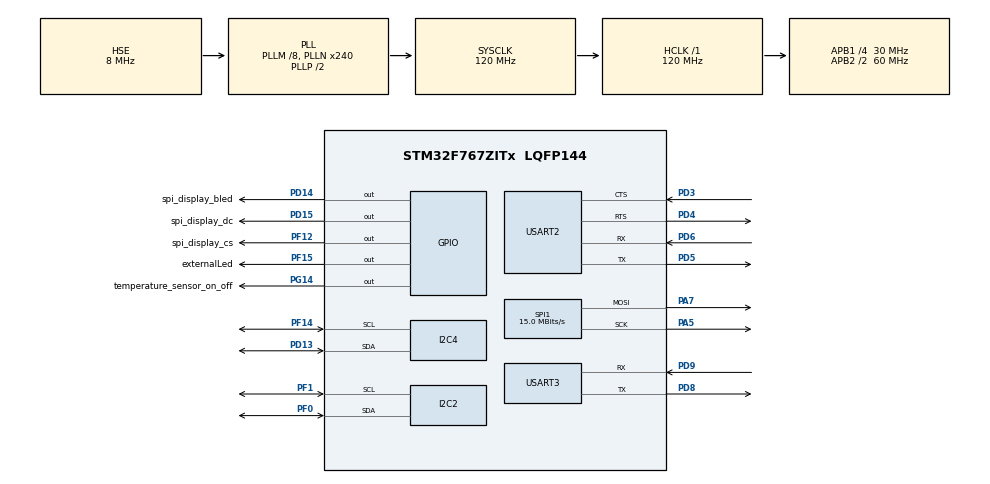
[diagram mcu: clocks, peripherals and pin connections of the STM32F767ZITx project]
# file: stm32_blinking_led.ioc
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CORTEX_M7.default_mode_Activation=1
Dma.Request0=USART2_RX
Dma.Request1=USART2_TX
Dma.USART2_RX.0.Direction=DMA_PERIPH_TO_MEMORY
Dma.USART2_RX.0.FIFOMode=DMA_FIFOMODE_DISABLE
Dma.USART2_RX.0.Instance=DMA1_Stream5
Dma.USART2_RX.0.MemDataAlignment=DMA_MDATAALIGN_BYTE
Dma.USART2_RX.0.MemInc=DMA_MINC_ENABLE
Dma.USART2_RX.0.Mode=DMA_CIRCULAR
Dma.USART2_RX.0.PeriphDataAlignment=DMA_PDATAALIGN_BYTE
Dma.USART2_RX.0.PeriphInc=DMA_PINC_DISABLE
Dma.USART2_RX.0.Priority=DMA_PRIORITY_MEDIUM
Dma.USART2_TX.1.Direction=DMA_MEMORY_TO_PERIPH
Dma.USART2_TX.1.FIFOMode=DMA_FIFOMODE_DISABLE
Dma.USART2_TX.1.Instance=DMA1_Stream6
Dma.USART2_TX.1.MemDataAlignment=DMA_MDATAALIGN_BYTE
Dma.USART2_TX.1.MemInc=DMA_MINC_ENABLE
Dma.USART2_TX.1.Mode=DMA_NORMAL
Dma.USART2_TX.1.PeriphDataAlignment=DMA_PDATAALIGN_BYTE
Dma.USART2_TX.1.PeriphInc=DMA_PINC_DISABLE
Dma.USART2_TX.1.Priority=DMA_PRIORITY_MEDIUM
FREERTOS.Tasks01=defaultTask,24,512,StartDefaultTask,Default,NULL,Dynamic,NULL,NULL
FREERTOS.configCHECK_FOR_STACK_OVERFLOW=2
FREERTOS.configMINIMAL_STACK_SIZE=128
FREERTOS.configTOTAL_HEAP_SIZE=65536
FREERTOS.configUSE_MALLOC_FAILED_HOOK=1
FREERTOS.configUSE_NEWLIB_REENTRANT=0
FREERTOS.copyHeapFile=1
I2C2.OwnAddress=0x38
I2C2.Timing=0x007074AF
I2C4.Timing=0x007074AF
Mcu.Family=STM32F7
Mcu.Name=STM32F767ZITx
Mcu.Package=LQFP144
NVIC.DMA1_Stream5_IRQn=true\:5\:0\:false\:false\:true\:true\:false\:true\:true
NVIC.DMA1_Stream6_IRQn=true\:5\:0\:false\:false\:true\:true\:false\:true\:true
NVIC.PriorityGroup=NVIC_PRIORITYGROUP_4
NVIC.TIM6_DAC_IRQn=true\:15\:0\:false\:false\:true\:false\:false\:true\:true
NVIC.TimeBase=TIM6_DAC_IRQn
NVIC.TimeBaseIP=TIM6
NVIC.USART2_IRQn=true\:5\:0\:false\:false\:true\:true\:true\:true\:true
PA5.Mode=TX_Only_Simplex_Unidirect_Master
PA5.Signal=SPI1_SCK
PA7.Mode=TX_Only_Simplex_Unidirect_Master
PA7.Signal=SPI1_MOSI
PC14/OSC32_IN.Mode=LSE-External-Oscillator
PC14/OSC32_IN.Signal=RCC_OSC32_IN
PC15/OSC32_OUT.Mode=LSE-External-Oscillator
PC15/OSC32_OUT.Signal=RCC_OSC32_OUT
PD13.Mode=I2C
PD13.Signal=I2C4_SDA
PD14.GPIO_Label=spi_display_bled
PD14.Signal=GPIO_Output
PD15.GPIO_Label=spi_display_dc
PD15.Signal=GPIO_Output
PD3.Mode=CTS_RTS
PD3.Signal=USART2_CTS
PD4.Mode=CTS_RTS
PD4.Signal=USART2_RTS
PD5.Mode=Asynchronous
PD5.Signal=USART2_TX
PD6.Mode=Asynchronous
PD6.Signal=USART2_RX
PD8.Mode=Asynchronous
PD8.Signal=USART3_TX
PD9.Mode=Asynchronous
PD9.Signal=USART3_RX
PF0.Mode=I2C
PF0.Signal=I2C2_SDA
PF1.Mode=I2C
PF1.Signal=I2C2_SCL
PF12.GPIO_Label=spi_display_cs
PF12.Signal=GPIO_Output
PF14.Mode=I2C
PF14.Signal=I2C4_SCL
PF15.GPIO_Label=externalLed
PF15.Signal=GPIO_Output
PG14.GPIO_Label=temperature_sensor_on_off
PG14.Signal=GPIO_Output
PH0/OSC_IN.Mode=HSE-External-Clock-Source
PH0/OSC_IN.Signal=RCC_OSC_IN
PH1/OSC_OUT.Mode=HSE-External-Clock-Source
PH1/OSC_OUT.Signal=RCC_OSC_OUT
ProjectManager.HeapSize=0x200
ProjectManager.StackSize=0x400
ProjectManager.TargetToolchain=CMake
RCC.AHBFreq_Value=120000000
RCC.APB1CLKDivider=RCC_HCLK_DIV4
RCC.APB1Freq_Value=30000000
RCC.APB1TimFreq_Value=60000000
RCC.APB2CLKDivider=RCC_HCLK_DIV2
RCC.APB2Freq_Value=60000000
RCC.APB2TimFreq_Value=120000000
RCC.CortexFreq_Value=120000000
RCC.HCLKFreq_Value=120000000
RCC.HSE_VALUE=8000000
RCC.HSI_VALUE=16000000
RCC.PLLM=8
RCC.PLLN=240
RCC.PLLSourceVirtual=RCC_PLLSOURCE_HSE
RCC.RTCClockSelection=RCC_RTCCLKSOURCE_LSE
RCC.SYSCLKFreq_VALUE=120000000
RCC.SYSCLKSource=RCC_SYSCLKSOURCE_PLLCLK
RCC.USBFreq_Value=120000000
RCC.VCOOutputFreq_Value=240000000
SPI1.BaudRatePrescaler=SPI_BAUDRATEPRESCALER_4
SPI1.CLKPolarity=SPI_POLARITY_LOW
SPI1.CalculateBaudRate=15.0 MBits/s
SPI1.DataSize=SPI_DATASIZE_8BIT
SPI1.Direction=SPI_DIRECTION_2LINES
SPI1.Mode=SPI_MODE_MASTER
SPI1.VirtualType=VM_MASTER
USART2.VirtualMode-Asynchronous=VM_ASYNC
USART3.VirtualMode-Asynchronous=VM_ASYNC
VP_FREERTOS_VS_CMSIS_V2.Mode=CMSIS_V2
VP_RTC_VS_RTC_Activate.Mode=RTC_Enabled
VP_SYS_VS_tim6.Mode=TIM6
board=custom

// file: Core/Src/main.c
/* USER CODE BEGIN Header */
/**
  ******************************************************************************
  * @file           : main.c
  * @brief          : Main program body
  ******************************************************************************
  * @attention
  *
  * Copyright (c) 2025 STMicroelectronics.
  * All rights reserved.
  *
  * This software is licensed under terms that can be found in the LICENSE file
  * in the root directory of this software component.
  * If no LICENSE file comes with this software, it is provided AS-IS.
  *
  ******************************************************************************
  */
/* USER CODE END Header */
#include "main.h"
#include "cmsis_os.h"

/* USER CODE BEGIN Includes */
#include "app_main.h"
#include "os_wrapper.h"
#if USE_SEGGER_SYSTEMVIEW
#include "SEGGER_SYSVIEW.h"
#include "SEGGER_RTT.h"
#endif
#include <stdio.h>
/* USER CODE END Includes */

I2C_HandleTypeDef hi2c2;
I2C_HandleTypeDef hi2c4;

RTC_HandleTypeDef hrtc;

SPI_HandleTypeDef hspi1;

UART_HandleTypeDef huart2;
UART_HandleTypeDef huart3;
DMA_HandleTypeDef hdma_usart2_rx;
DMA_HandleTypeDef hdma_usart2_tx;

/* Definitions for defaultTask */
osThreadId_t defaultTaskHandle;
const osThreadAttr_t defaultTask_attributes = {
  .name = "defaultTask",
  .stack_size = 512 * 4,
  .priority = (osPriority_t) osPriorityNormal,
};

void SystemClock_Config(void);
static void MPU_Config(void);
static void MX_GPIO_Init(void);
static void MX_DMA_Init(void);
static void MX_I2C2_Init(void);
static void MX_SPI1_Init(void);
static void MX_I2C4_Init(void);
static void MX_RTC_Init(void);
static void MX_USART2_UART_Init(void);
static void MX_USART3_UART_Init(void);
void StartDefaultTask(void *argument);

/* USER CODE BEGIN 0 */
// Retarget printf to USART3 (ST-Link VCP on micro-USB)
int __io_putchar(int ch)
{
  HAL_UART_Transmit(&huart3, (uint8_t *)&ch, 1, HAL_MAX_DELAY);
  return ch;
}
/* USER CODE END 0 */

int main(void)
{

  /* USER CODE BEGIN 1 */
  /* Dual-bank OTA with bootloader: application always runs from 0x08008000.
     Bootloader at sectors 0-1 (0x08000000) sets VTOR before jumping here,
     but we reinforce it in case of direct SWD flash. */
  SCB->VTOR = 0x08008000U;
  /* USER CODE END 1 */

  /* MPU Configuration--------------------------------------------------------*/
  MPU_Config();

  /* MCU Configuration--------------------------------------------------------*/

  /* Reset of all peripherals, Initializes the Flash interface and the Systick. */
  HAL_Init();

  /* Configure the system clock */
  SystemClock_Config();

  /* USER CODE BEGIN SysInit */
  // CRITICAL: Update SystemCoreClock variable after clock reconfiguration
  SystemCoreClockUpdate();
  printf("=== Clock configured to 120MHz (8MHz HSE, PLLN=240) ===\n");
  printf("SystemCoreClock variable: %lu Hz\n", SystemCoreClock);

  // CRITICAL: Reinitialize HAL tick timer after clock config
  HAL_InitTick(TICK_INT_PRIORITY);

  printf("HAL tick reinitialized successfully\n");

  // Enable DWT cycle counter for SystemView timestamps
  CoreDebug->DEMCR |= CoreDebug_DEMCR_TRCENA_Msk;
  DWT->CYCCNT = 0;
  DWT->CTRL |= DWT_CTRL_CYCCNTENA_Msk;
  /* USER CODE END SysInit */

  /* Initialize all configured peripherals */
  MX_GPIO_Init();
  MX_DMA_Init();
  MX_I2C2_Init();
  MX_SPI1_Init();
  MX_I2C4_Init();
  MX_RTC_Init();
  MX_USART2_UART_Init();
  MX_USART3_UART_Init();
  /* USER CODE BEGIN 2 */
  printf("\n=== STM32F767 Application Starting ===\n");
  printf("Firmware Version: v1.2.3\n");  // UPDATE THIS FOR EACH BUILD
  printf("System Clock: %lu Hz\n", HAL_RCC_GetSysClockFreq());
  printf("HAL Tick: %lu ms\n", HAL_GetTick());
  printf("VTOR: 0x%08lX\n", SCB->VTOR);
  printf("Executing from: 0x%08lX\n", (uint32_t)&main);

  // Check reset reason
  if (__HAL_RCC_GET_FLAG(RCC_FLAG_IWDGRST)) {
    printf("RESET: Independent Watchdog\n");
  }
  if (__HAL_RCC_GET_FLAG(RCC_FLAG_WWDGRST)) {
    printf("RESET: Window Watchdog\n");
  }
  if (__HAL_RCC_GET_FLAG(RCC_FLAG_SFTRST)) {
    printf("RESET: Software Reset\n");
  }
  if (__HAL_RCC_GET_FLAG(RCC_FLAG_PORRST)) {
    printf("RESET: Power-On Reset\n");
  }
  if (__HAL_RCC_GET_FLAG(RCC_FLAG_PINRST)) {
    printf("RESET: External Pin\n");
  }
  __HAL_RCC_CLEAR_RESET_FLAGS();
  printf("DEBUG: Reset flags cleared\n");

  // Initialize SEGGER SystemView configuration (recording starts after scheduler)
#if USE_SEGGER_SYSTEMVIEW
  SEGGER_SYSVIEW_Conf();
  printf("SEGGER SystemView configured (will start after scheduler init)\n");
#else
  printf("SEGGER SystemView: Disabled\n");
#endif

  // NOTE: app_init() moved to StartDefaultTask() to run AFTER FreeRTOS scheduler is initialized
  // This prevents creating FreeRTOS tasks/queues before scheduler is ready
  /* USER CODE END 2 */

  /* Init scheduler */
  osKernelInitialize();

  /* Create the thread(s) */
  /* creation of defaultTask */
  defaultTaskHandle = osThreadNew(StartDefaultTask, NULL, &defaultTask_attributes);

  /* Start scheduler */
  osKernelStart();

  /* We should never get here as control is now taken by the scheduler */

  /* Infinite loop */
  /* USER CODE BEGIN WHILE */
  while (1)
  {
    /* This code will never execute - scheduler has control */
    /* USER CODE END WHILE */

  }
}

void SystemClock_Config(void)
{
  RCC_OscInitTypeDef RCC_OscInitStruct = {0};
  RCC_ClkInitTypeDef RCC_ClkInitStruct = {0};

  /** Configure LSE Drive Capability
  */
  HAL_PWR_EnableBkUpAccess();
  __HAL_RCC_LSEDRIVE_CONFIG(RCC_LSEDRIVE_LOW);

  /** Configure the main internal regulator output voltage
  */
  __HAL_RCC_PWR_CLK_ENABLE();
  __HAL_PWR_VOLTAGESCALING_CONFIG(PWR_REGULATOR_VOLTAGE_SCALE3);

  /** Initializes the RCC Oscillators according to the specified parameters
  * in the RCC_OscInitTypeDef structure.
  */
  RCC_OscInitStruct.OscillatorType = RCC_OSCILLATORTYPE_HSE|RCC_OSCILLATORTYPE_LSE;
  RCC_OscInitStruct.HSEState = RCC_HSE_BYPASS;
  RCC_OscInitStruct.LSEState = RCC_LSE_ON;
  RCC_OscInitStruct.PLL.PLLState = RCC_PLL_ON;
  RCC_OscInitStruct.PLL.PLLSource = RCC_PLLSOURCE_HSE;
  RCC_OscInitStruct.PLL.PLLM = 8;
  RCC_OscInitStruct.PLL.PLLN = 240;
  RCC_OscInitStruct.PLL.PLLP = RCC_PLLP_DIV2;
  RCC_OscInitStruct.PLL.PLLQ = 2;
  RCC_OscInitStruct.PLL.PLLR = 2;
  if (HAL_RCC_OscConfig(&RCC_OscInitStruct) != HAL_OK)
  {
    Error_Handler();
  }

  /** Initializes the CPU, AHB and APB buses clocks
  */
  RCC_ClkInitStruct.ClockType = RCC_CLOCKTYPE_HCLK|RCC_CLOCKTYPE_SYSCLK
                              |RCC_CLOCKTYPE_PCLK1|RCC_CLOCKTYPE_PCLK2;
  RCC_ClkInitStruct.SYSCLKSource = RCC_SYSCLKSOURCE_PLLCLK;
  RCC_ClkInitStruct.AHBCLKDivider = RCC_SYSCLK_DIV1;
  RCC_ClkInitStruct.APB1CLKDivider = RCC_HCLK_DIV4;
  RCC_ClkInitStruct.APB2CLKDivider = RCC_HCLK_DIV2;

  if (HAL_RCC_ClockConfig(&RCC_ClkInitStruct, FLASH_LATENCY_3) != HAL_OK)
  {
    Error_Handler();
  }
}

static void MX_I2C2_Init(void)
{

  hi2c2.Instance = I2C2;
  hi2c2.Init.Timing = 0x007074AF;
  hi2c2.Init.OwnAddress1 = 112;
  hi2c2.Init.AddressingMode = I2C_ADDRESSINGMODE_7BIT;
  hi2c2.Init.DualAddressMode = I2C_DUALADDRESS_DISABLE;
  hi2c2.Init.OwnAddress2 = 0;
  hi2c2.Init.OwnAddress2Masks = I2C_OA2_NOMASK;
  hi2c2.Init.GeneralCallMode = I2C_GENERALCALL_DISABLE;
  hi2c2.Init.NoStretchMode = I2C_NOSTRETCH_DISABLE;
  if (HAL_I2C_Init(&hi2c2) != HAL_OK)
  {
    Error_Handler();
  }

  /** Configure Analogue filter
  */
  if (HAL_I2CEx_ConfigAnalogFilter(&hi2c2, I2C_ANALOGFILTER_ENABLE) != HAL_OK)
  {
    Error_Handler();
  }

  /** Configure Digital filter
  */
  if (HAL_I2CEx_ConfigDigitalFilter(&hi2c2, 0) != HAL_OK)
  {
    Error_Handler();
  }

}

static void MX_I2C4_Init(void)
{

  hi2c4.Instance = I2C4;
  hi2c4.Init.Timing = 0x007074AF;
  hi2c4.Init.OwnAddress1 = 0;
  hi2c4.Init.AddressingMode = I2C_ADDRESSINGMODE_7BIT;
  hi2c4.Init.DualAddressMode = I2C_DUALADDRESS_DISABLE;
  hi2c4.Init.OwnAddress2 = 0;
  hi2c4.Init.OwnAddress2Masks = I2C_OA2_NOMASK;
  hi2c4.Init.GeneralCallMode = I2C_GENERALCALL_DISABLE;
  hi2c4.Init.NoStretchMode = I2C_NOSTRETCH_DISABLE;
  if (HAL_I2C_Init(&hi2c4) != HAL_OK)
  {
    Error_Handler();
  }

  /** Configure Analogue filter
  */
  if (HAL_I2CEx_ConfigAnalogFilter(&hi2c4, I2C_ANALOGFILTER_ENABLE) != HAL_OK)
  {
    Error_Handler();
  }

  /** Configure Digital filter
  */
  if (HAL_I2CEx_ConfigDigitalFilter(&hi2c4, 0) != HAL_OK)
  {
    Error_Handler();
  }

}

static void MX_RTC_Init(void)
{

  /** Initialize RTC Only
  */
  hrtc.Instance = RTC;
  hrtc.Init.HourFormat = RTC_HOURFORMAT_24;
  hrtc.Init.AsynchPrediv = 127;
  hrtc.Init.SynchPrediv = 255;
  hrtc.Init.OutPut = RTC_OUTPUT_DISABLE;
  hrtc.Init.OutPutPolarity = RTC_OUTPUT_POLARITY_HIGH;
  hrtc.Init.OutPutType = RTC_OUTPUT_TYPE_OPENDRAIN;
  if (HAL_RTC_Init(&hrtc) != HAL_OK)
  {
    Error_Handler();
  }

}

static void MX_SPI1_Init(void)
{

  /* SPI1 parameter configuration*/
  hspi1.Instance = SPI1;
  hspi1.Init.Mode = SPI_MODE_MASTER;
  hspi1.Init.Direction = SPI_DIRECTION_2LINES;
  hspi1.Init.DataSize = SPI_DATASIZE_8BIT;
  hspi1.Init.CLKPolarity = SPI_POLARITY_LOW;
  hspi1.Init.CLKPhase = SPI_PHASE_1EDGE;
  hspi1.Init.NSS = SPI_NSS_SOFT;
  hspi1.Init.BaudRatePrescaler = SPI_BAUDRATEPRESCALER_4;
  hspi1.Init.FirstBit = SPI_FIRSTBIT_MSB;
  hspi1.Init.TIMode = SPI_TIMODE_DISABLE;
  hspi1.Init.CRCCalculation = SPI_CRCCALCULATION_DISABLE;
  hspi1.Init.CRCPolynomial = 7;
  hspi1.Init.CRCLength = SPI_CRC_LENGTH_DATASIZE;
  hspi1.Init.NSSPMode = SPI_NSS_PULSE_ENABLE;
  if (HAL_SPI_Init(&hspi1) != HAL_OK)
  {
    Error_Handler();
  }

}

static void MX_USART2_UART_Init(void)
{

  huart2.Instance = USART2;
  huart2.Init.BaudRate = 115200;
  huart2.Init.WordLength = UART_WORDLENGTH_8B;
  huart2.Init.StopBits = UART_STOPBITS_1;
  huart2.Init.Parity = UART_PARITY_NONE;
  huart2.Init.Mode = UART_MODE_TX_RX;
  huart2.Init.HwFlowCtl = UART_HWCONTROL_RTS_CTS;
  huart2.Init.OverSampling = UART_OVERSAMPLING_16;
  huart2.Init.OneBitSampling = UART_ONE_BIT_SAMPLE_DISABLE;
  huart2.AdvancedInit.AdvFeatureInit = UART_ADVFEATURE_NO_INIT;
  if (HAL_UART_Init(&huart2) != HAL_OK)
  {
    Error_Handler();
  }

}

static void MX_USART3_UART_Init(void)
{

  huart3.Instance = USART3;
  huart3.Init.BaudRate = 115200;
  huart3.Init.WordLength = UART_WORDLENGTH_8B;
  huart3.Init.StopBits = UART_STOPBITS_1;
  huart3.Init.Parity = UART_PARITY_NONE;
  huart3.Init.Mode = UART_MODE_TX_RX;
  huart3.Init.HwFlowCtl = UART_HWCONTROL_NONE;
  huart3.Init.OverSampling = UART_OVERSAMPLING_16;
  huart3.Init.OneBitSampling = UART_ONE_BIT_SAMPLE_DISABLE;
  huart3.AdvancedInit.AdvFeatureInit = UART_ADVFEATURE_NO_INIT;
  if (HAL_UART_Init(&huart3) != HAL_OK)
  {
    Error_Handler();
  }

}

static void MX_DMA_Init(void)
{

  /* DMA controller clock enable */
  __HAL_RCC_DMA1_CLK_ENABLE();

  /* DMA interrupt init */
  /* DMA1_Stream5_IRQn interrupt configuration */
  HAL_NVIC_SetPriority(DMA1_Stream5_IRQn, 5, 0);
  HAL_NVIC_EnableIRQ(DMA1_Stream5_IRQn);
  /* DMA1_Stream6_IRQn interrupt configuration */
  HAL_NVIC_SetPriority(DMA1_Stream6_IRQn, 5, 0);
  HAL_NVIC_EnableIRQ(DMA1_Stream6_IRQn);

}

static void MX_GPIO_Init(void)
{
  GPIO_InitTypeDef GPIO_InitStruct = {0};

  /* GPIO Ports Clock Enable */
  __HAL_RCC_GPIOC_CLK_ENABLE();
  __HAL_RCC_GPIOF_CLK_ENABLE();
  __HAL_RCC_GPIOH_CLK_ENABLE();
  __HAL_RCC_GPIOA_CLK_ENABLE();
  __HAL_RCC_GPIOD_CLK_ENABLE();
  __HAL_RCC_GPIOG_CLK_ENABLE();

  /*Configure GPIO pin Output Level */
  HAL_GPIO_WritePin(GPIOF, spi_display_cs_Pin|externalLed_Pin, GPIO_PIN_RESET);

  /*Configure GPIO pin Output Level */
  HAL_GPIO_WritePin(GPIOD, spi_display_bled_Pin|spi_display_dc_Pin, GPIO_PIN_RESET);

  /*Configure GPIO pin Output Level */
  HAL_GPIO_WritePin(temperature_sensor_on_off_GPIO_Port, temperature_sensor_on_off_Pin, GPIO_PIN_RESET);

  /*Configure GPIO pins : spi_display_cs_Pin externalLed_Pin */
  GPIO_InitStruct.Pin = spi_display_cs_Pin|externalLed_Pin;
  GPIO_InitStruct.Mode = GPIO_MODE_OUTPUT_PP;
  GPIO_InitStruct.Pull = GPIO_NOPULL;
  GPIO_InitStruct.Speed = GPIO_SPEED_FREQ_LOW;
  HAL_GPIO_Init(GPIOF, &GPIO_InitStruct);

  /*Configure GPIO pins : spi_display_bled_Pin spi_display_dc_Pin */
  GPIO_InitStruct.Pin = spi_display_bled_Pin|spi_display_dc_Pin;
  GPIO_InitStruct.Mode = GPIO_MODE_OUTPUT_PP;
  GPIO_InitStruct.Pull = GPIO_NOPULL;
  GPIO_InitStruct.Speed = GPIO_SPEED_FREQ_LOW;
  HAL_GPIO_Init(GPIOD, &GPIO_InitStruct);

  /*Configure GPIO pin : temperature_sensor_on_off_Pin */
  GPIO_InitStruct.Pin = temperature_sensor_on_off_Pin;
  GPIO_InitStruct.Mode = GPIO_MODE_OUTPUT_PP;
  GPIO_InitStruct.Pull = GPIO_NOPULL;
  GPIO_InitStruct.Speed = GPIO_SPEED_FREQ_LOW;
  HAL_GPIO_Init(temperature_sensor_on_off_GPIO_Port, &GPIO_InitStruct);

}

void StartDefaultTask(void *argument)
{
  /* USER CODE BEGIN 5 */
  /* Start SystemView recording now that scheduler is running */
#if USE_SEGGER_SYSTEMVIEW
  static uint8_t sysview_started = 0;
  if (!sysview_started) {
    SEGGER_SYSVIEW_Start();
    printf("SEGGER SystemView recording started from task\n");
    printf("SystemView State: %d\n", SEGGER_SYSVIEW_IsStarted());
    sysview_started = 1;
  }
#endif

  /* Initialize OS wrapper */
  os_init();

  /* Initialize application AFTER FreeRTOS scheduler is running
   * This is critical because app_init() creates FreeRTOS tasks/queues via UART driver init */
  printf("Initializing application (post-scheduler)...\n");
  app_init();
  printf("Application initialized successfully\n");

  /* Infinite loop */
  for(;;)
  {
    /* Run your application logic here */
    app_run();
    /* Small delay to yield to other tasks */
    osDelay(10);
  }
  /* USER CODE END 5 */
}

 /* MPU Configuration */

void MPU_Config(void)
{
  MPU_Region_InitTypeDef MPU_InitStruct = {0};

  /* Disables the MPU */
  HAL_MPU_Disable();

  /** Initializes and configures the Region and the memory to be protected
  */
  MPU_InitStruct.Enable = MPU_REGION_ENABLE;
  MPU_InitStruct.Number = MPU_REGION_NUMBER0;
  MPU_InitStruct.BaseAddress = 0x0;
  MPU_InitStruct.Size = MPU_REGION_SIZE_4GB;
  MPU_InitStruct.SubRegionDisable = 0x87;
  MPU_InitStruct.TypeExtField = MPU_TEX_LEVEL0;
  MPU_InitStruct.AccessPermission = MPU_REGION_NO_ACCESS;
  MPU_InitStruct.DisableExec = MPU_INSTRUCTION_ACCESS_DISABLE;
  MPU_InitStruct.IsShareable = MPU_ACCESS_SHAREABLE;
  MPU_InitStruct.IsCacheable = MPU_ACCESS_NOT_CACHEABLE;
  MPU_InitStruct.IsBufferable = MPU_ACCESS_NOT_BUFFERABLE;

  HAL_MPU_ConfigRegion(&MPU_InitStruct);
  /* Enables the MPU */
  HAL_MPU_Enable(MPU_PRIVILEGED_DEFAULT);

}

void HAL_TIM_PeriodElapsedCallback(TIM_HandleTypeDef *htim)
{
  if (htim->Instance == TIM6)
  {
    HAL_IncTick();
  }
}

void Error_Handler(void)
{
  /* USER CODE BEGIN Error_Handler_Debug */
  /* User can add his own implementation to report the HAL error return state */
  printf("\n*** ERROR_HANDLER CALLED ***\n");
  __asm("BKPT #1");  // Breakpoint to catch in debugger
  __disable_irq();
  while (1)
  {
  }
  /* USER CODE END Error_Handler_Debug */
}

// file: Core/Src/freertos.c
/* USER CODE BEGIN Header */
/**
  ******************************************************************************
  * File Name          : freertos.c
  * Description        : Code for freertos applications
  ******************************************************************************
  * @attention
  *
  * Copyright (c) 2026 STMicroelectronics.
  * All rights reserved.
  *
  * This software is licensed under terms that can be found in the LICENSE file
  * in the root directory of this software component.
  * If no LICENSE file comes with this software, it is provided AS-IS.
  *
  ******************************************************************************
  */
/* USER CODE END Header */

#include "FreeRTOS.h"
#include "task.h"
#include "main.h"

/* USER CODE BEGIN Includes */
#include "portable_log.h"
/* USER CODE END Includes */

/* Hook prototypes */
void vApplicationStackOverflowHook(xTaskHandle xTask, signed char *pcTaskName);
void vApplicationMallocFailedHook(void);

/* USER CODE BEGIN 4 */
static const char *TAG = "FREERTOS";

void vApplicationStackOverflowHook(xTaskHandle xTask, signed char *pcTaskName)
{
   (void)xTask;
   LOG_E(TAG, "STACK OVERFLOW in task: %s", pcTaskName);

   __disable_irq();
   while (1) {
      // Halt here for debugger
   }
}
/* USER CODE END 4 */

/* USER CODE BEGIN 5 */
void vApplicationMallocFailedHook(void)
{
   LOG_E(TAG, "MALLOC FAILED - heap exhausted (free: %lu bytes)",
         (unsigned long)xPortGetFreeHeapSize());
   __disable_irq();
   while (1) {
      // Halt here for debugger
   }
}
/* USER CODE END 5 */
